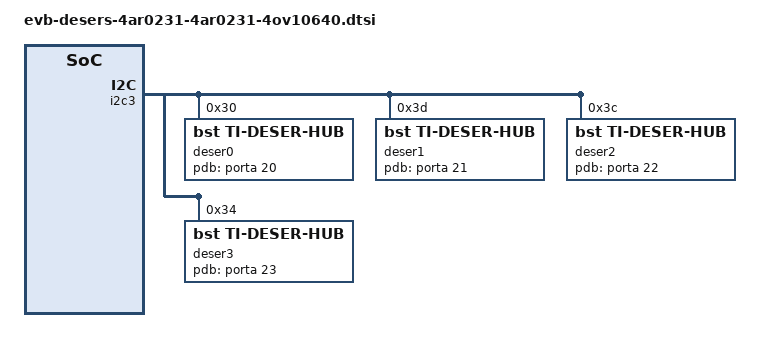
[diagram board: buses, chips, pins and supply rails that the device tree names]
/*
   default deser config for evb
   deser0@i2c2 0x30:    ti960
   deser1@i2c2 0x32:    ti960
   deser2@i2c2 0x34:    ti960
*/

&i2c3 {
    #address-cells = <1>;
    #size-cells = <0>;

    deser0: ti960@30 {
        compatible = "bst,ti-deser-hub";
        type = "ti960";
        ctl-mode = "evb";
        reg = <0x30>;
        i2c-port = <0>;
        csi2-port = <0>;
        lane-speed = <1600>;
        trigger-mode = <1>;                 /*0:default,1:internal,2:external*/
        trigger-fps = <22>;
        trigger-tx-gpio = <1>;
        trigger-rx-gpio = <1>;
        pdb-gpio = <&porta 20 0>;
    };

    deser1: ti960@3d {
        compatible = "bst,ti-deser-hub";
        type = "ti960";
        ctl-mode = "evb";
        reg = <0x3d>;
        i2c-port = <0>;
        csi2-port = <0>;
        lane-speed = <1600>;
        trigger-mode = <1>;                 /*0:default,1:internal,2:external*/
        trigger-fps = <22>;
        trigger-tx-gpio = <1>;
        trigger-rx-gpio = <1>;
        pdb-gpio = <&porta 21 0>;
    };

    deser2: ti960@3c {
        compatible = "bst,ti-deser-hub";
        type = "ti960";
        ctl-mode = "evb";
        reg = <0x3c>;
        i2c-port = <0>;
        csi2-port = <0>;
        lane-speed = <1600>;
        trigger-mode = <1>;                 /*0:default,1:internal,2:external*/
        trigger-fps = <30>;
        trigger-tx-gpio = <1>;
        trigger-rx-gpio = <1>;
        pdb-gpio = <&porta 22 0>;
    };

    deser3: ti960@34 {
        compatible = "bst,ti-deser-hub";
        type = "ti960";
        ctl-mode = "evb";
        reg = <0x34>;
        i2c-port = <0>;
        csi2-port = <0>;
        lane-speed = <1600>;
        pdb-gpio = <&porta 23 0>;
    };
};

#include "../common/a1000b-deser.dtsi"
